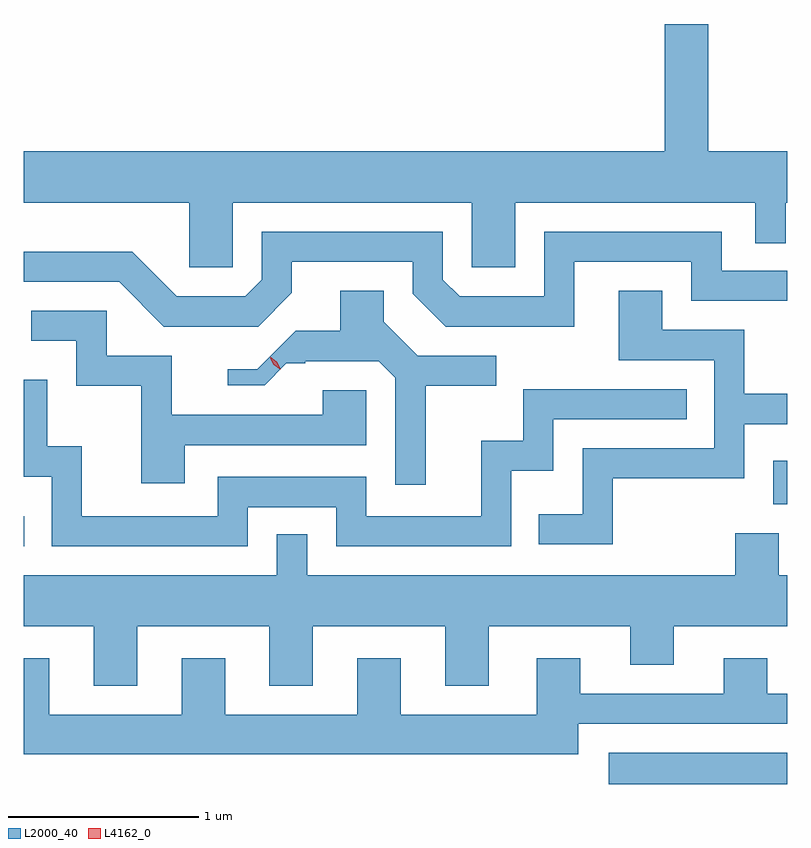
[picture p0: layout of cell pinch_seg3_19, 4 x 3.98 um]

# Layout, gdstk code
import gdstk
lib = gdstk.Library(unit=1e-6, precision=1e-09)
def R(c, l, rs):  # rectangles x0, y0, x1, y1
    for r in rs: c.add(gdstk.rectangle(r[:2], r[2:], *l))
def P(c, l, *ps):  # polygons
    for p in ps: c.add(gdstk.Polygon(p, *l))
L2000_40 = (2000, 40)
L4162_0 = (4162, 0)

pinch_seg3_19 = lib.new_cell('pinch_seg3_19')
R(pinch_seg3_19, L2000_40, [(1910.388,1205.111,1911.324,1205.274), (1907.324,1206.356,1907.328,1206.514), (1911.251,1206.576,1911.324,1206.804)])
P(pinch_seg3_19, L2000_40, [(1908.419,1208.156),(1909.671,1208.156),(1909.671,1207.816),(1909.899,1207.816),(1909.899,1208.156),(1911.156,1208.156),(1911.156,1207.943),(1911.314,1207.943),(1911.314,1208.156),(1911.324,1208.156),(1911.324,1208.424),(1910.909,1208.424),(1910.909,1209.091),(1910.681,1209.091),(1910.681,1208.424),(1907.324,1208.424),(1907.324,1208.156),(1908.191,1208.156),(1908.191,1207.816),(1908.419,1207.816)],
  [(1908.729,1207.684),(1908.729,1207.846),(1909.361,1207.846),(1909.361,1207.679),(1909.534,1207.506),(1910.209,1207.506),(1910.209,1207.846),(1910.821,1207.846),(1910.821,1207.641),(1911.324,1207.641),(1911.324,1207.799),(1910.979,1207.799),(1910.979,1208.004),(1910.051,1208.004),(1910.051,1207.664),(1909.607,1207.664),(1909.519,1207.752),(1909.519,1208.004),(1908.571,1208.004),(1908.571,1207.752),(1908.484,1207.664),(1908.127,1207.664),(1907.892,1207.899),(1907.324,1207.899),(1907.324,1207.741),(1907.824,1207.741),(1908.059,1207.506),(1908.552,1207.506)],
  [(1909.429,1207.196),(1909.798,1207.196),(1909.798,1207.354),(1909.387,1207.354),(1909.209,1207.532),(1909.209,1207.694),(1908.981,1207.694),(1908.981,1207.484),(1908.749,1207.484),(1908.548,1207.283),(1908.393,1207.283),(1908.393,1207.2),(1908.586,1207.2),(1908.7,1207.314),(1908.798,1207.314),(1908.798,1207.326),(1909.184,1207.326),(1909.271,1207.239),(1909.271,1206.678),(1909.429,1206.678)],
  [(1910.409,1206.711),(1911.099,1206.711),(1911.099,1206.996),(1911.324,1206.996),(1911.324,1207.154),(1911.099,1207.154),(1911.099,1207.489),(1910.669,1207.489),(1910.669,1207.694),(1910.441,1207.694),(1910.441,1207.331),(1910.941,1207.331),(1910.941,1206.869),(1910.251,1206.869),(1910.251,1206.524),(1910.023,1206.524),(1910.023,1206.366),(1910.409,1206.366)],
  [(1908.169,1206.886),(1909.119,1206.886),(1909.119,1207.174),(1908.891,1207.174),(1908.891,1207.044),(1908.099,1207.044),(1908.099,1207.354),(1907.759,1207.354),(1907.759,1207.589),(1907.363,1207.589),(1907.363,1207.431),(1907.601,1207.431),(1907.601,1207.196),(1907.941,1207.196),(1907.941,1206.686),(1908.169,1206.686)],
  [(1908.499,1206.561),(1908.961,1206.561),(1908.961,1206.356),(1909.879,1206.356),(1909.879,1206.751),(1910.099,1206.751),(1910.099,1207.021),(1910.798,1207.021),(1910.798,1207.179),(1909.941,1207.179),(1909.941,1206.909),(1909.721,1206.909),(1909.721,1206.514),(1909.119,1206.514),(1909.119,1206.719),(1908.341,1206.719),(1908.341,1206.514),(1907.629,1206.514),(1907.629,1206.879),(1907.449,1206.879),(1907.449,1207.228),(1907.324,1207.228),(1907.324,1206.721),(1907.471,1206.721),(1907.471,1206.356),(1908.499,1206.356)],
  [(1907.919,1205.936),(1908.611,1205.936),(1908.611,1205.626),(1908.839,1205.626),(1908.839,1205.936),(1909.531,1205.936),(1909.531,1205.626),(1909.759,1205.626),(1909.759,1205.936),(1910.501,1205.936),(1910.501,1205.736),(1910.729,1205.736),(1910.729,1205.936),(1911.324,1205.936),(1911.324,1206.204),(1911.279,1206.204),(1911.279,1206.424),(1911.051,1206.424),(1911.051,1206.204),(1908.809,1206.204),(1908.809,1206.418),(1908.651,1206.418),(1908.651,1206.204),(1907.324,1206.204),(1907.324,1205.936),(1907.691,1205.936),(1907.691,1205.626),(1907.919,1205.626)],
  [(1910.229,1205.426),(1911.324,1205.426),(1911.324,1205.584),(1911.219,1205.584),(1911.219,1205.769),(1910.991,1205.769),(1910.991,1205.584),(1910.239,1205.584),(1910.239,1205.769),(1910.011,1205.769),(1910.011,1205.474),(1909.299,1205.474),(1909.299,1205.769),(1909.071,1205.769),(1909.071,1205.474),(1908.379,1205.474),(1908.379,1205.769),(1908.151,1205.769),(1908.151,1205.474),(1907.459,1205.474),(1907.459,1205.769),(1907.324,1205.769),(1907.324,1205.266),(1910.229,1205.266)])
P(pinch_seg3_19, L4162_0, [(1908.669,1207.283),(1908.635,1207.309),(1908.616,1207.347),(1908.616,1207.348),(1908.617,1207.348),(1908.651,1207.322),(1908.67,1207.284),(1908.67,1207.283)],
  [(1908.663,1207.286),(1908.633,1207.307),(1908.617,1207.34),(1908.617,1207.341),(1908.618,1207.341),(1908.648,1207.32),(1908.664,1207.287),(1908.664,1207.286)])

lib.write_gds('pinch_seg3_19.gds')
